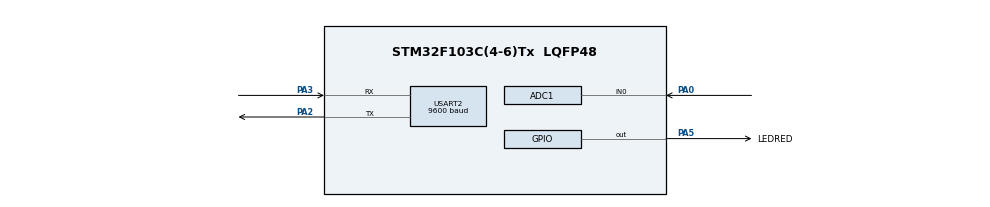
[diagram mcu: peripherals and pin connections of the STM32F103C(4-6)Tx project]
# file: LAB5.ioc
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ADC1.Channel-0\#ChannelRegularConversion=ADC_CHANNEL_0
ADC1.ContinuousConvMode=ENABLE
ADC1.NbrOfConversionFlag=1
ADC1.Rank-0\#ChannelRegularConversion=1
ADC1.SamplingTime-0\#ChannelRegularConversion=ADC_SAMPLETIME_239CYCLES_5
ADC1.master=1
Mcu.Family=STM32F1
Mcu.Name=STM32F103C(4-6)Tx
Mcu.Package=LQFP48
NVIC.ADC1_2_IRQn=true\:0\:0\:false\:false\:true\:true\:true\:true
NVIC.PriorityGroup=NVIC_PRIORITYGROUP_4
NVIC.TIM2_IRQn=true\:0\:0\:false\:false\:true\:true\:true\:true
NVIC.USART2_IRQn=true\:0\:0\:false\:false\:true\:true\:true\:true
PA0-WKUP.Signal=ADCx_IN0
PA2.Mode=Asynchronous
PA2.Signal=USART2_TX
PA3.Mode=Asynchronous
PA3.Signal=USART2_RX
PA5.GPIO_Label=LEDRED
PA5.Signal=GPIO_Output
ProjectManager.HeapSize=0x200
ProjectManager.StackSize=0x400
ProjectManager.TargetToolchain=STM32CubeIDE
RCC.APB1Freq_Value=8000000
RCC.APB2Freq_Value=8000000
SH.ADCx_IN0.0=ADC1_IN0,IN0
TIM2.Period=9
TIM2.Prescaler=7999
USART2.BaudRate=9600
USART2.VirtualMode=VM_ASYNC
VP_SYS_VS_ND.Mode=No_Debug
VP_TIM2_VS_ClockSourceINT.Mode=Internal
board=custom

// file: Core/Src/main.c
/* USER CODE BEGIN Header */
/**
  ******************************************************************************
  * @file           : main.c
  * @brief          : Main program body
  ******************************************************************************
  * @attention
  *
  * Copyright (c) 2022 STMicroelectronics.
  * All rights reserved.
  *
  * This software is licensed under terms that can be found in the LICENSE file
  * in the root directory of this software component.
  * If no LICENSE file comes with this software, it is provided AS-IS.
  *
  ******************************************************************************
  */
/* USER CODE END Header */
#include "main.h"

/* USER CODE BEGIN Includes */
#include "Software_Timer.h"
#include "stdio.h"
#include "Uart.h"
#include "Command_parser.h"
#include "uart_communiation.h"
/* USER CODE END Includes */

ADC_HandleTypeDef hadc1;

TIM_HandleTypeDef htim2;

UART_HandleTypeDef huart2;

void SystemClock_Config(void);
static void MX_GPIO_Init(void);
static void MX_USART2_UART_Init(void);
static void MX_ADC1_Init(void);
static void MX_TIM2_Init(void);

int main(void)
{

  /* MCU Configuration--------------------------------------------------------*/

  /* Reset of all peripherals, Initializes the Flash interface and the Systick. */
  HAL_Init();

  /* Configure the system clock */
  SystemClock_Config();

  /* Initialize all configured peripherals */
  MX_GPIO_Init();
  MX_USART2_UART_Init();
  MX_ADC1_Init();
  MX_TIM2_Init();
  /* USER CODE BEGIN 2 */

  //HAL_ADC_Start(&hadc1);
  HAL_TIM_Base_Start_IT (&htim2);			//Dung de settimer
  HAL_UART_Receive_IT (&huart2 , &temp , 1);	//Dung de ngat ham Receive UART
  HAL_ADC_Start_IT(&hadc1);
  /* USER CODE END 2 */

  /* Infinite loop */
  /* USER CODE BEGIN WHILE */

  while (1)
  {

	  if (timer1_flag == 1){
		  state = '0';
		  setTimer1(0);
	  }

	  if( buffer_flag == 1) {
		  command_parser_fsm() ;
		  buffer_flag = 0;
		  HAL_GPIO_TogglePin(LEDRED_GPIO_Port, LEDRED_Pin);
	  }
	  uart_communication_fsm () ;

    /* USER CODE END WHILE */

  }
}

void SystemClock_Config(void)
{
  RCC_OscInitTypeDef RCC_OscInitStruct = {0};
  RCC_ClkInitTypeDef RCC_ClkInitStruct = {0};
  RCC_PeriphCLKInitTypeDef PeriphClkInit = {0};

  /** Initializes the RCC Oscillators according to the specified parameters
  * in the RCC_OscInitTypeDef structure.
  */
  RCC_OscInitStruct.OscillatorType = RCC_OSCILLATORTYPE_HSI;
  RCC_OscInitStruct.HSIState = RCC_HSI_ON;
  RCC_OscInitStruct.HSICalibrationValue = RCC_HSICALIBRATION_DEFAULT;
  RCC_OscInitStruct.PLL.PLLState = RCC_PLL_NONE;
  if (HAL_RCC_OscConfig(&RCC_OscInitStruct) != HAL_OK)
  {
    Error_Handler();
  }

  /** Initializes the CPU, AHB and APB buses clocks
  */
  RCC_ClkInitStruct.ClockType = RCC_CLOCKTYPE_HCLK|RCC_CLOCKTYPE_SYSCLK
                              |RCC_CLOCKTYPE_PCLK1|RCC_CLOCKTYPE_PCLK2;
  RCC_ClkInitStruct.SYSCLKSource = RCC_SYSCLKSOURCE_HSI;
  RCC_ClkInitStruct.AHBCLKDivider = RCC_SYSCLK_DIV1;
  RCC_ClkInitStruct.APB1CLKDivider = RCC_HCLK_DIV1;
  RCC_ClkInitStruct.APB2CLKDivider = RCC_HCLK_DIV1;

  if (HAL_RCC_ClockConfig(&RCC_ClkInitStruct, FLASH_LATENCY_0) != HAL_OK)
  {
    Error_Handler();
  }
  PeriphClkInit.PeriphClockSelection = RCC_PERIPHCLK_ADC;
  PeriphClkInit.AdcClockSelection = RCC_ADCPCLK2_DIV2;
  if (HAL_RCCEx_PeriphCLKConfig(&PeriphClkInit) != HAL_OK)
  {
    Error_Handler();
  }
}

static void MX_ADC1_Init(void)
{

  ADC_ChannelConfTypeDef sConfig = {0};

  /** Common config
  */
  hadc1.Instance = ADC1;
  hadc1.Init.ScanConvMode = ADC_SCAN_DISABLE;
  hadc1.Init.ContinuousConvMode = ENABLE;
  hadc1.Init.DiscontinuousConvMode = DISABLE;
  hadc1.Init.ExternalTrigConv = ADC_SOFTWARE_START;
  hadc1.Init.DataAlign = ADC_DATAALIGN_RIGHT;
  hadc1.Init.NbrOfConversion = 1;
  if (HAL_ADC_Init(&hadc1) != HAL_OK)
  {
    Error_Handler();
  }

  /** Configure Regular Channel
  */
  sConfig.Channel = ADC_CHANNEL_0;
  sConfig.Rank = ADC_REGULAR_RANK_1;
  sConfig.SamplingTime = ADC_SAMPLETIME_239CYCLES_5;
  if (HAL_ADC_ConfigChannel(&hadc1, &sConfig) != HAL_OK)
  {
    Error_Handler();
  }

}

static void MX_TIM2_Init(void)
{

  TIM_ClockConfigTypeDef sClockSourceConfig = {0};
  TIM_MasterConfigTypeDef sMasterConfig = {0};

  htim2.Instance = TIM2;
  htim2.Init.Prescaler = 7999;
  htim2.Init.CounterMode = TIM_COUNTERMODE_UP;
  htim2.Init.Period = 9;
  htim2.Init.ClockDivision = TIM_CLOCKDIVISION_DIV1;
  htim2.Init.AutoReloadPreload = TIM_AUTORELOAD_PRELOAD_DISABLE;
  if (HAL_TIM_Base_Init(&htim2) != HAL_OK)
  {
    Error_Handler();
  }
  sClockSourceConfig.ClockSource = TIM_CLOCKSOURCE_INTERNAL;
  if (HAL_TIM_ConfigClockSource(&htim2, &sClockSourceConfig) != HAL_OK)
  {
    Error_Handler();
  }
  sMasterConfig.MasterOutputTrigger = TIM_TRGO_RESET;
  sMasterConfig.MasterSlaveMode = TIM_MASTERSLAVEMODE_DISABLE;
  if (HAL_TIMEx_MasterConfigSynchronization(&htim2, &sMasterConfig) != HAL_OK)
  {
    Error_Handler();
  }

}

static void MX_USART2_UART_Init(void)
{

  huart2.Instance = USART2;
  huart2.Init.BaudRate = 9600;
  huart2.Init.WordLength = UART_WORDLENGTH_8B;
  huart2.Init.StopBits = UART_STOPBITS_1;
  huart2.Init.Parity = UART_PARITY_NONE;
  huart2.Init.Mode = UART_MODE_TX_RX;
  huart2.Init.HwFlowCtl = UART_HWCONTROL_NONE;
  huart2.Init.OverSampling = UART_OVERSAMPLING_16;
  if (HAL_UART_Init(&huart2) != HAL_OK)
  {
    Error_Handler();
  }

}

static void MX_GPIO_Init(void)
{
  GPIO_InitTypeDef GPIO_InitStruct = {0};

  /* GPIO Ports Clock Enable */
  __HAL_RCC_GPIOA_CLK_ENABLE();

  /*Configure GPIO pin Output Level */
  HAL_GPIO_WritePin(LEDRED_GPIO_Port, LEDRED_Pin, GPIO_PIN_RESET);

  /*Configure GPIO pin : LEDRED_Pin */
  GPIO_InitStruct.Pin = LEDRED_Pin;
  GPIO_InitStruct.Mode = GPIO_MODE_OUTPUT_PP;
  GPIO_InitStruct.Pull = GPIO_NOPULL;
  GPIO_InitStruct.Speed = GPIO_SPEED_FREQ_LOW;
  HAL_GPIO_Init(LEDRED_GPIO_Port, &GPIO_InitStruct);

}

/* USER CODE BEGIN 4 */
void HAL_TIM_PeriodElapsedCallback(TIM_HandleTypeDef *htim){
	timerRun();
}
/* USER CODE END 4 */

void Error_Handler(void)
{
  __disable_irq();
  while (1)
  {
  }
}
